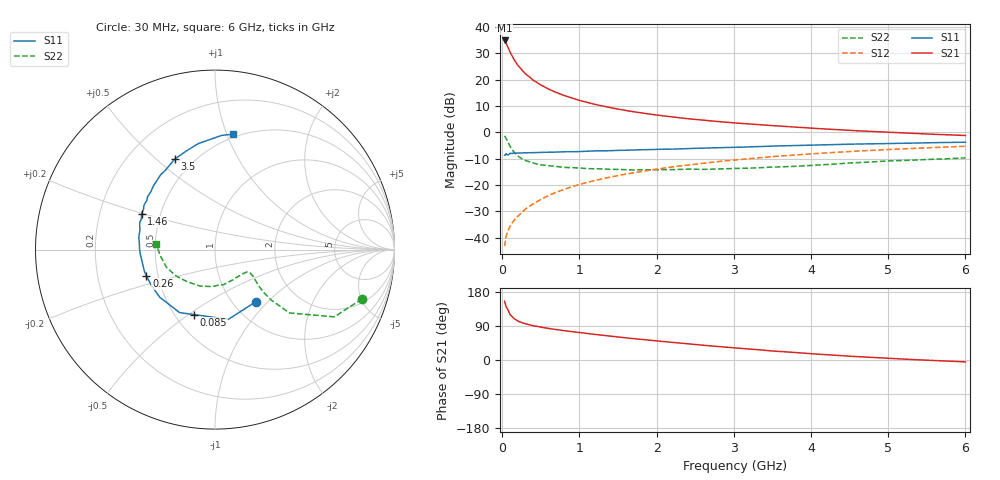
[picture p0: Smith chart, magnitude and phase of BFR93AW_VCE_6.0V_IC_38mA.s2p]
! Infineon Technologies  Discrete & RF Semiconductors
! BFR93AW
! VCE =  6.0 V,  IC =  38 mA
! Common Emitter S-Parameters:  Nov 2015
# GHz  S  MA  R  50
!  f  S11  S21  S12  S22
! GHz  MAG  ANG  MAG  ANG  MAG  ANG  MAG  ANG
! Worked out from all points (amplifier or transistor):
!   206 points, 30 MHz to 6 GHz, reference 50 ohm
!   highest |S21| = 34.9 dB at 30 MHz (marker M1)
!   |S21| within 3 dB of that: start of sweep to 79.48 MHz
!   unconditionally stable (mu >= 1): 392.5 MHz to 2.148 GHz
!   at 200 MHz: K = 0.85, MSG = 28.7 dB, |S12| = -31.8 dB
!   at 1.56 GHz: K = 1.03, MAG = 11.2 dB, |S12| = -16.1 dB
!   at 6 GHz: K = 0.90, MSG = 2.1 dB, |S12| = -5.3 dB
!   S11 on the Smith chart (normalised r, x): 30 MHz: 1.27, -0.85; 85 MHz: 0.62, -0.53; 260 MHz: 0.43, -0.15; 1.46 GHz: 0.39, +0.20; 3.5 GHz: 0.40, +0.58; 6 GHz: 0.47, +1.06
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0.03  0.3691 -51.7  55.91 155.1  0.0069 75.6  0.8641 -18.6
0.05  0.3955 -79.1  49.5 139.8  0.0107 69.2  0.7633 -29.4
0.085  0.3802 -107.7  37.9 127.4  0.0148 64.9  0.6075 -36.3
0.1  0.4026 -119.3  33.73 119.6  0.0166 63.7  0.5444 -40.4
0.15  0.4062 -139.1  24.4 109.3  0.0211 64.1  0.4228 -41.9
0.2  0.407 -149.8  18.98 103.0  0.0256 66.8  0.358 -41.3
0.24  0.4079 -156.4  16.12 99.7  0.0288 68.3  0.3245 -40.0
0.26  0.4091 -159.0  14.93 98.1  0.0307 68.9  0.3115 -39.3
0.3  0.4114 -163.0  12.98 95.4  0.035 69.9  0.2928 -38.0
0.4  0.4122 -171.4  9.841 90.4  0.0438 72.6  0.2611 -35.2
0.5  0.4178 -177.1  7.955 86.5  0.0533 73.4  0.2421 -34.0
0.6  0.4206 178.8  6.65 83.2  0.0631 74.3  0.2329 -33.5
0.7  0.4227 174.9  5.742 80.2  0.0731 73.8  0.2253 -34.0
0.82  0.43 170.7  4.925 76.9  0.0846 74.1  0.2159 -35.5
1.04  0.4352 164.1  3.921 71.3  0.1065 73.0  0.2086 -39.0
1.46  0.4538 154.0  2.846 61.6  0.1476 70.6  0.1984 -49.2
2.02  0.4778 141.5  2.122 49.9  0.2026 66.3  0.1962 -65.6
3.1  0.5255 120.7  1.482 30.6  0.3077 56.4  0.2077 -98.3
3.5  0.5519 114.0  1.348 23.8  0.3467 52.5  0.2199 -112.5
4.1  0.5773 104.5  1.182 15.3  0.4 46.0  0.2405 -134.4
5.1  0.619 91.2  0.992 3.4  0.481 35.3  0.2899 -162.5
6  0.6511 80.9  0.876 -5.0  0.5462 25.9  0.3282 174.9
